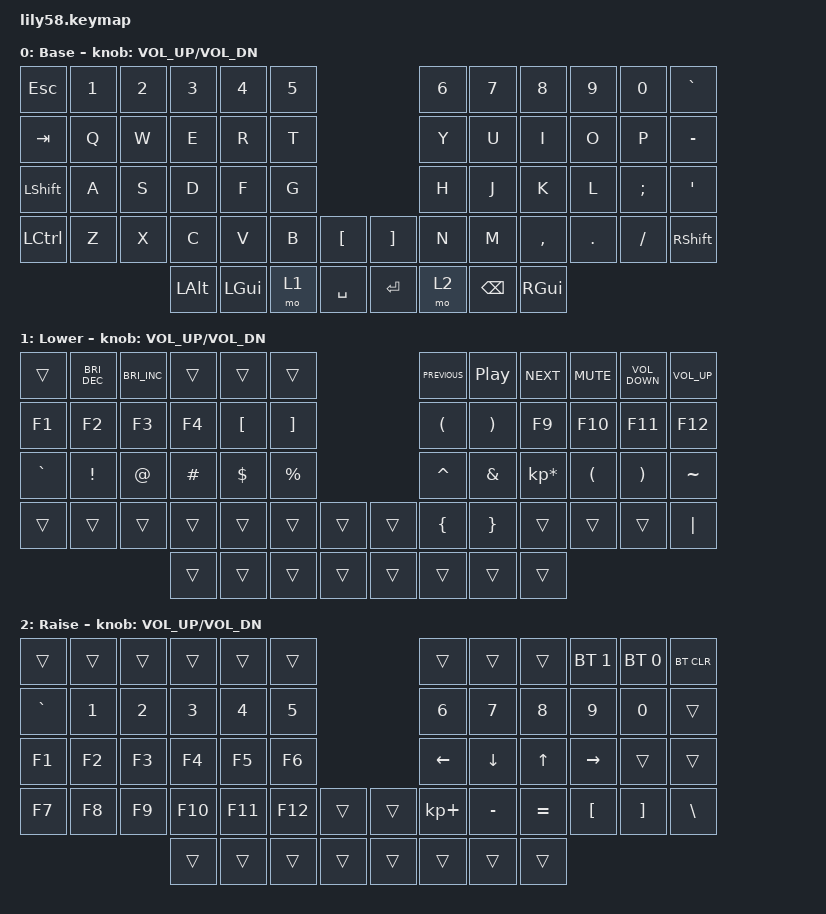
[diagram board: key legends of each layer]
/*
 * Copyright (c) 2020 The ZMK Contributors
 *
 * SPDX-License-Identifier: MIT
 */

#include <behaviors.dtsi>
#include <dt-bindings/zmk/bt.h>
#include <dt-bindings/zmk/keys.h>

/ {
    keymap {
        compatible = "zmk,keymap";

        default_layer {
            // ------------------------------------------------------------------------------------------------------------
            // |  ESC  |  1  |  2  |  3   |  4   |  5   |                   |  6   |  7    |  8    |  9   |   0   |   `   |
            // |  TAB  |  Q  |  W  |  E   |  R   |  T   |                   |  Y   |  U    |  I    |  O   |   P   |   -   |
            // |  CTRL |  A  |  S  |  D   |  F   |  G   |                   |  H   |  J    |  K    |  L   |   ;   |   '   |
            // | SHIFT |  Z  |  X  |  C   |  V   |  B   |   "["  |  |  "]"  |  N   |  M    |  ,    |  .   |   /   | SHIFT |
            //                     | ALT  | GUI  | LOWER|  SPACE |  | ENTER | RAISE| BSPC  | GUI   |

            display-name = "Base";
            bindings = <
&kp ESC    &kp N1  &kp N2  &kp N3    &kp N4    &kp N5                         &kp N6  &kp N7         &kp N8     &kp N9   &kp N0    &kp GRAVE
&kp TAB    &kp Q   &kp W   &kp E     &kp R     &kp T                          &kp Y   &kp U          &kp I      &kp O    &kp P     &kp MINUS
&kp LSHFT  &kp A   &kp S   &kp D     &kp F     &kp G                          &kp H   &kp J          &kp K      &kp L    &kp SEMI  &kp SQT
&kp LCTRL  &kp Z   &kp X   &kp C     &kp V     &kp B   &kp LBKT     &kp RBKT  &kp N   &kp M          &kp COMMA  &kp DOT  &kp FSLH  &kp RSHFT
                           &kp LALT  &kp LGUI  &mo 1   &kp SPACE    &kp RET   &mo 2   &kp BACKSPACE  &kp RGUI
            >;

            sensor-bindings = <&inc_dec_kp C_VOL_UP C_VOL_DN>;
        };

        lower_layer {
            // ------------------------------------------------------------------------------------------------------------
            // | BTCLR | BT1 | BT2 |  BT3 |  BT4 |  BT5 |                   |      |       |       |      |       |       |
            // |  F1   |  F2 |  F3 |  F4  |  F5  |  F6  |                   |  F7  |  F8   |  F9   |  F10 |  F11  |  F12  |
            // |   `   |  !  |  @  |  #   |  $   |  %   |                   |  ^   |  &    |  *    |  (   |   )   |   ~   |
            // |       |     |     |      |      |      |        |  |       |      |  _    |  +    |  {   |   }   |  "|"  |
            //                     |      |      |      |        |  |       |      |       |       |

            display-name = "Lower";
            bindings = <
&trans     &kp C_BRI_DEC  &kp C_BRI_INC  &trans    &trans      &trans                       &kp C_PREVIOUS  &kp C_PLAY_PAUSE  &kp C_NEXT       &kp K_MUTE  &kp C_VOLUME_DOWN  &kp C_VOL_UP
&kp F1     &kp F2         &kp F3         &kp F4    &kp LBKT    &kp RBKT                     &kp LPAR        &kp RPAR          &kp F9           &kp F10     &kp F11            &kp F12
&kp GRAVE  &kp EXCL       &kp AT         &kp HASH  &kp DOLLAR  &kp PRCNT                    &kp CARET       &kp AMPS          &kp KP_MULTIPLY  &kp LPAR    &kp RPAR           &kp TILDE
&trans     &trans         &trans         &trans    &trans      &trans     &trans    &trans  &kp LBRC        &kp RBRC          &trans           &trans      &trans             &kp PIPE
                                         &trans    &trans      &trans     &trans    &trans  &trans          &trans            &trans
            >;

            sensor-bindings = <&inc_dec_kp C_VOL_UP C_VOL_DN>;
        };

        raise_layer {
            // ------------------------------------------------------------------------------------------------------------
            // |       |     |     |      |      |      |                   |      |       |       |      |       |       |
            // |   `   |  1  |  2  |  3   |  4   |  5   |                   |  6   |   7   |   8   |  9   |   0   |       |
            // |   F1  |  F2 |  F3 |  F4  |  F5  |  F6  |                   |      |   <-  |   v   |  ^   |  ->   |       |
            // |   F7  |  F8 |  F9 |  F10 |  F11 |  F12 |        |  |       |  +   |   -   |   =   |  [   |   ]   |   \   |
            //                     |      |      |      |        |  |       |      |       |       |

            display-name = "Raise";
            bindings = <
&trans     &trans  &trans  &trans   &trans   &trans                     &trans       &trans     &trans        &bt BT_SEL 1  &bt BT_SEL 0  &bt BT_CLR
&kp GRAVE  &kp N1  &kp N2  &kp N3   &kp N4   &kp N5                     &kp N6       &kp N7     &kp N8        &kp N9        &kp N0        &trans
&kp F1     &kp F2  &kp F3  &kp F4   &kp F5   &kp F6                     &kp LEFT     &kp DOWN   &kp UP_ARROW  &kp RIGHT     &trans        &trans
&kp F7     &kp F8  &kp F9  &kp F10  &kp F11  &kp F12  &trans    &trans  &kp KP_PLUS  &kp MINUS  &kp EQUAL     &kp LBKT      &kp RBKT      &kp BSLH
                           &trans   &trans   &trans   &trans    &trans  &trans       &trans     &trans
            >;

            sensor-bindings = <&inc_dec_kp C_VOL_UP C_VOL_DN>;
        };

        extra_1 { status = "reserved"; };

        extra_2 { status = "reserved"; };

        extra_3 { status = "reserved"; };
    };
};
